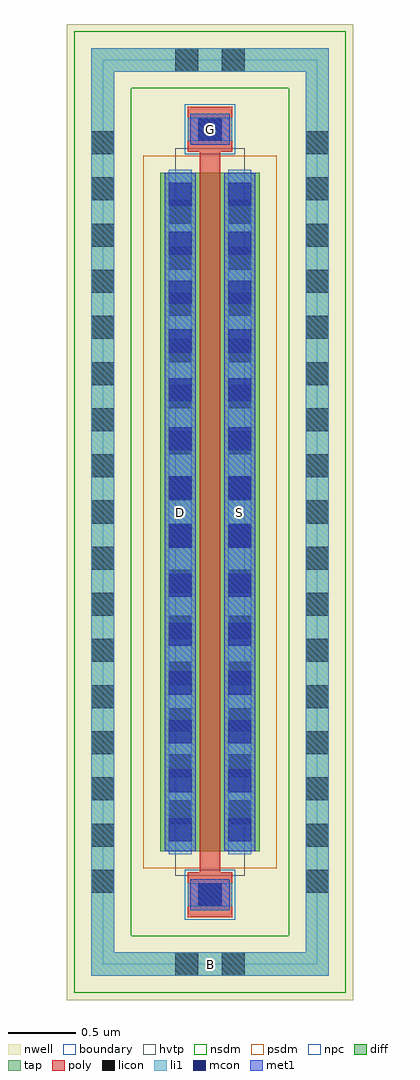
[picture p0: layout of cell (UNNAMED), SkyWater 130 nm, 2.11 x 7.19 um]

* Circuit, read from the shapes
.subckt (UNNAMED) B D G S
XM1 S G D B sky130_fd_pr__pfet_01v8_hvt w=5 l=0.15
.ends

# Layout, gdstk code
import gdstk
lib = gdstk.Library(unit=1e-6, precision=1e-09)
def R(c, l, rs):  # rectangles x0, y0, x1, y1
    for r in rs: c.add(gdstk.rectangle(r[:2], r[2:], *l))
def A(c, l, x, y, w, h, nx, ny, dx, dy):  # array of equal rectangles
    R(c, l, [(x+i*dx, y+j*dy, x+i*dx+w, y+j*dy+h) for i in range(nx) for j in range(ny)])
nwell = (64, 20)
diff = (65, 20)
tap = (65, 44)
poly = (66, 20)
licon = (66, 44)
li1 = (67, 20)
mcon = (67, 44)
met1 = (68, 20)
hvtp = (78, 44)
nsdm = (93, 44)
psdm = (94, 20)
npc = (95, 20)
boundary = (235, 4)

c__unnamed_ = lib.new_cell('(UNNAMED)')
R(c__unnamed_, nwell, [(-1.055,-3.595,1.055,3.595)])
R(c__unnamed_, diff, [(-0.365,-2.5,0.365,2.5)])
R(c__unnamed_, tap, [(-0.875,-3.415,0.875,-3.245), (-0.875,-3.245,-0.705,3.245), (0.705,-3.245,0.875,3.245), (-0.875,3.245,0.875,3.415)])
R(c__unnamed_, poly, [(-0.165,-2.985,0.165,-2.655), (-0.075,-2.655,0.075,2.655), (-0.165,2.655,0.165,2.985)])
A(c__unnamed_, licon, -0.875, -2.805, 0.17, 0.17, 1, 17, 0, 0.34)
A(c__unnamed_, licon, 0.705, -2.805, 0.17, 0.17, 1, 17, 0, 0.34)
A(c__unnamed_, licon, -0.305, -2.295, 0.17, 0.17, 1, 14, 0, 0.34)
A(c__unnamed_, licon, 0.135, -2.295, 0.17, 0.17, 1, 14, 0, 0.34)
R(c__unnamed_, licon, [(-0.255,-3.415,-0.085,-3.245), (0.085,-3.415,0.255,-3.245), (-0.085,-2.905,0.085,-2.735), (-0.085,2.735,0.085,2.905), (-0.255,3.245,-0.085,3.415), (0.085,3.245,0.255,3.415)])
R(c__unnamed_, li1, [(-0.875,-3.415,0.875,-3.245), (-0.875,-3.245,-0.705,3.245), (0.705,-3.245,0.875,3.245), (-0.165,-2.905,0.165,-2.735), (-0.305,-2.52,-0.135,2.52), (0.135,-2.52,0.305,2.52), (-0.165,2.735,0.165,2.905), (-0.875,3.245,0.875,3.415)])
A(c__unnamed_, mcon, -0.305, -2.425, 0.17, 0.17, 1, 14, 0, 0.36)
A(c__unnamed_, mcon, 0.135, -2.425, 0.17, 0.17, 1, 14, 0, 0.36)
R(c__unnamed_, mcon, [(-0.085,-2.905,0.085,-2.735), (-0.085,2.735,0.085,2.905)])
R(c__unnamed_, met1, [(-0.145,-2.935,0.145,-2.705), (-0.335,-2.5,-0.105,2.5), (0.105,-2.5,0.335,2.5), (-0.145,2.705,0.145,2.935)])
R(c__unnamed_, hvtp, [(-0.255,-2.68,0.255,2.68)])
R(c__unnamed_, nsdm, [(-1,-3.54,1,-3.12), (-1,-3.12,-0.58,3.12), (0.58,-3.12,1,3.12), (-1,3.12,1,3.54)])
R(c__unnamed_, psdm, [(-0.49,-2.625,0.49,2.625)])
R(c__unnamed_, npc, [(-0.185,-3.005,0.185,-2.635), (-0.185,2.635,0.185,3.005)])
R(c__unnamed_, boundary, [(-0.79,-3.33,0.79,3.33)])
c__unnamed_.add(gdstk.Label('B', (0,-3.33), layer=67, texttype=5))
c__unnamed_.add(gdstk.Label('D', (-0.22,0), layer=67, texttype=5))
c__unnamed_.add(gdstk.Label('S', (0.22,0), layer=67, texttype=5))
c__unnamed_.add(gdstk.Label('G', (0,2.82), layer=67, texttype=5))

lib.write_gds('_UNNAMED_.gds')
